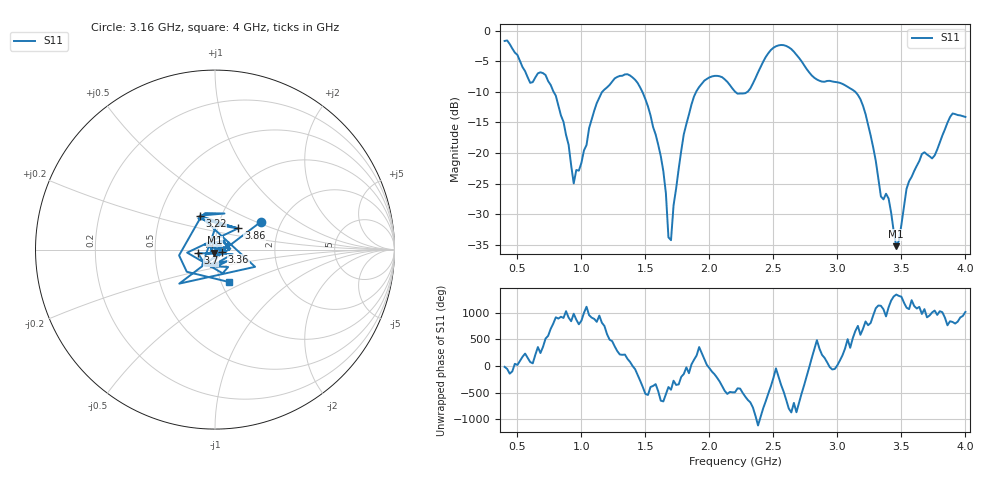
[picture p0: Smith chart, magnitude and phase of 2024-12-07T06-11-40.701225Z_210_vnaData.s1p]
!Created with skrf (http://scikit-rf.org).
# Hz S RI R 50.0
!freq ReS11 ImS11
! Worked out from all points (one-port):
!   181 points, 400 MHz to 4 GHz, reference 50 ohm
!   lowest |S11| = -35.3 dB at 3.46 GHz (marker M1), VSWR 1.04, Z = 49.7 - j1.69 ohm
!   |S11| at or under -10 dB: 782.8 MHz to 1.163 GHz (380.1 MHz wide, 39.1 % of centre); 1.476 GHz to 1.897 GHz (420.6 MHz wide, 24.9 % of centre); 3.14 GHz to end of sweep (the widest 3 of 4)
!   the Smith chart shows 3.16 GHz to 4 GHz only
!   S11 on the Smith chart (normalised r, x): 3.16 GHz: 1.57, +0.53; 3.22 GHz: 0.79, +0.31; 3.36 GHz: 1.08, -0.03; 3.7 GHz: 0.83, -0.03; 3.86 GHz: 1.26, +0.31; 4 GHz: 1.09, -0.41
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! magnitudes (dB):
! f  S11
! 400 MHz  -1.7
! 600 MHz  -8.5
! 720 MHz  -7.3
! 860 MHz  -14.9
! 940 MHz  -25.0
! 1.12 GHz  -11.8
! 1.3 GHz  -7.4
! 1.52 GHz  -12.4
! 1.64 GHz  -23.0
! 1.68 GHz  -33.8
! 1.7 GHz  -34.3
! 1.76 GHz  -22.6
! 1.8 GHz  -16.9
! 1.92 GHz  -9.2
! 2.2 GHz  -10.0
! 2.3 GHz  -10.0
! 2.5 GHz  -2.8
! 2.66 GHz  -3.4
! 3.1 GHz  -9.4
! 3.16 GHz  -10.5
! 3.22 GHz  -13.6
! 3.36 GHz  -27.6
! 3.4 GHz  -27.5
! 3.46 GHz  -35.3
! 3.56 GHz  -24.6
! 3.7 GHz  -20.3
! 3.86 GHz  -15.1
! 4 GHz  -14.1
